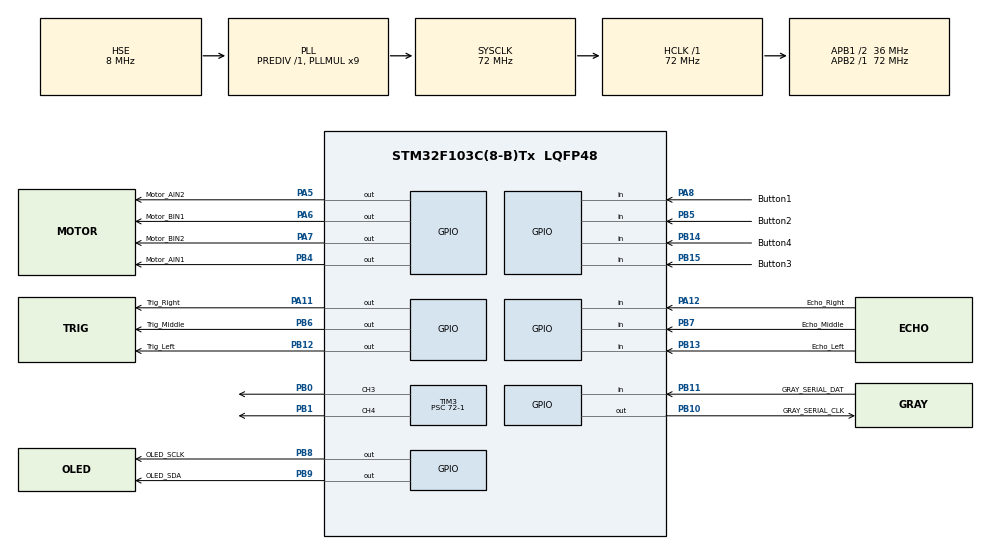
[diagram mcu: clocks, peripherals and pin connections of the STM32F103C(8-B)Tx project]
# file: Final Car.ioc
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Mcu.Family=STM32F1
Mcu.Name=STM32F103C(8-B)Tx
Mcu.Package=LQFP48
NVIC.PriorityGroup=NVIC_PRIORITYGROUP_4
NVIC.TIM2_IRQn=true\:0\:0\:false\:false\:true\:true\:true\:true
PA11.GPIO_Label=Trig_Right
PA11.GPIO_Speed=GPIO_SPEED_FREQ_HIGH
PA11.Signal=GPIO_Output
PA12.GPIO_Label=Echo_Right
PA12.Signal=GPIO_Input
PA13.Mode=Serial_Wire
PA13.Signal=SYS_JTMS-SWDIO
PA14.Mode=Serial_Wire
PA14.Signal=SYS_JTCK-SWCLK
PA5.GPIO_Label=Motor_AIN2
PA5.Signal=GPIO_Output
PA6.GPIO_Label=Motor_BIN1
PA6.Signal=GPIO_Output
PA7.GPIO_Label=Motor_BIN2
PA7.Signal=GPIO_Output
PA8.GPIO_Label=Button1
PA8.GPIO_Mode=GPIO_MODE_INPUT
PA8.GPIO_PuPd=GPIO_PULLUP
PA8.Signal=GPIO_Input
PB0.Signal=S_TIM3_CH3
PB1.Signal=S_TIM3_CH4
PB10.GPIO_Label=GRAY_SERIAL_CLK
PB10.GPIO_PuPd=GPIO_NOPULL
PB10.GPIO_Speed=GPIO_SPEED_FREQ_HIGH
PB10.Signal=GPIO_Output
PB11.GPIO_Label=GRAY_SERIAL_DAT
PB11.GPIO_PuPd=GPIO_PULLUP
PB11.Signal=GPIO_Input
PB12.GPIO_Label=Trig_Left
PB12.GPIO_Speed=GPIO_SPEED_FREQ_HIGH
PB12.Signal=GPIO_Output
PB13.GPIO_Label=Echo_Left
PB13.Signal=GPIO_Input
PB14.GPIO_Label=Button4
PB14.GPIO_PuPd=GPIO_PULLUP
PB14.Signal=GPIO_Input
PB15.GPIO_Label=Button3
PB15.GPIO_PuPd=GPIO_PULLUP
PB15.Signal=GPIO_Input
PB4.GPIO_Label=Motor_AIN1
PB4.Signal=GPIO_Output
PB5.GPIO_Label=Button2
PB5.GPIO_PuPd=GPIO_PULLUP
PB5.Signal=GPIO_Input
PB6.GPIO_Label=Trig_Middle
PB6.GPIO_PuPd=GPIO_NOPULL
PB6.GPIO_Speed=GPIO_SPEED_FREQ_HIGH
PB6.Signal=GPIO_Output
PB7.GPIO_Label=Echo_Middle
PB7.Signal=GPIO_Input
PB8.GPIO_Label=OLED_SCLK
PB8.GPIO_Speed=GPIO_SPEED_FREQ_HIGH
PB8.Signal=GPIO_Output
PB9.GPIO_Label=OLED_SDA
PB9.GPIO_Speed=GPIO_SPEED_FREQ_HIGH
PB9.Signal=GPIO_Output
PD0-OSC_IN.Mode=HSE-External-Oscillator
PD0-OSC_IN.Signal=RCC_OSC_IN
PD1-OSC_OUT.Mode=HSE-External-Oscillator
PD1-OSC_OUT.Signal=RCC_OSC_OUT
ProjectManager.HeapSize=0x200
ProjectManager.StackSize=0x400
ProjectManager.TargetToolchain=MDK-ARM V5.32
RCC.AHBFreq_Value=72000000
RCC.APB1CLKDivider=RCC_HCLK_DIV2
RCC.APB1Freq_Value=36000000
RCC.APB1TimFreq_Value=72000000
RCC.APB2Freq_Value=72000000
RCC.APB2TimFreq_Value=72000000
RCC.HCLKFreq_Value=72000000
RCC.PLLMUL=RCC_PLL_MUL9
RCC.PLLSourceVirtual=RCC_PLLSOURCE_HSE
RCC.SYSCLKFreq_VALUE=72000000
RCC.SYSCLKSource=RCC_SYSCLKSOURCE_PLLCLK
RCC.USBFreq_Value=72000000
SH.S_TIM3_CH3.0=TIM3_CH3,PWM Generation3 CH3
SH.S_TIM3_CH4.0=TIM3_CH4,PWM Generation4 CH4
TIM2.AutoReloadPreload=TIM_AUTORELOAD_PRELOAD_DISABLE
TIM2.CounterMode=TIM_COUNTERMODE_UP
TIM2.Prescaler=72-1
TIM3.Channel-PWM\ Generation3\ CH3=TIM_CHANNEL_3
TIM3.Channel-PWM\ Generation4\ CH4=TIM_CHANNEL_4
TIM3.CounterMode=TIM_COUNTERMODE_UP
TIM3.Period=100-1
TIM3.Prescaler=72-1
TIM3.Pulse-PWM\ Generation3\ CH3=15
TIM3.Pulse-PWM\ Generation4\ CH4=15
VP_TIM2_VS_ClockSourceINT.Mode=Internal
VP_TIM3_VS_ClockSourceINT.Mode=Internal
board=custom

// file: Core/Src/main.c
/* USER CODE BEGIN Header */
/**
  ******************************************************************************
  * @file           : main.c
  * @brief          : Main program body
  ******************************************************************************
  * @attention
  *
  * Copyright (c) 2024 STMicroelectronics.
  * All rights reserved.
  *
  * This software is licensed under terms that can be found in the LICENSE file
  * in the root directory of this software component.
  * If no LICENSE file comes with this software, it is provided AS-IS.
  *
  ******************************************************************************
  */
/* USER CODE END Header */
#include "main.h"
#include "tim.h"
#include "gpio.h"

/* USER CODE BEGIN Includes */
#include "OLED.h"
#include "gray_sensor.h"
#include "motor.h"
#include "ultrasonic.h"
/* USER CODE END Includes */

/* USER CODE BEGIN PV */

// 灰度传感器全局变量
uint8_t sensor_data = 0;
uint8_t sensor[8] = {0};
extern int8_t error;

// 电机全局变量
int Duty_L = 0, Duty_R = 0;
int BaseSpeed = 20;
int MaxSpeed = 30;

// 超声波测距全局变量
extern float distance_m;
extern float distance_l;
extern float distance_r;

/* USER CODE END PV */

void SystemClock_Config(void);

int main(void)
{

  /* MCU Configuration--------------------------------------------------------*/

  /* Reset of all peripherals, Initializes the Flash interface and the Systick. */
  HAL_Init();

  /* Configure the system clock */
  SystemClock_Config();

  /* USER CODE BEGIN SysInit */

  OLED_Init();// OLED初始化
	HCSR04_Init();

  /* USER CODE END SysInit */

  /* Initialize all configured peripherals */
  MX_GPIO_Init();
  MX_TIM2_Init();
  MX_TIM3_Init();
  /* USER CODE BEGIN 2 */

  HAL_TIM_PWM_Start(&htim3, TIM_CHANNEL_3);// 小车左轮PWM通道
  HAL_TIM_PWM_Start(&htim3, TIM_CHANNEL_4);// 小车右轮PWM通道

  /* USER CODE END 2 */

  /* Infinite loop */
  /* USER CODE BEGIN WHILE */
  OLED_ShowString(1, 3, "Final Design");

  while (1)
  {
		if(HAL_GPIO_ReadPin(Button1_GPIO_Port, Button1_Pin) == 0)
		{// 如果按键1被按下: 进入灰度传感器巡线模式
			HAL_Delay(10);// 消抖
			if(HAL_GPIO_ReadPin(Button1_GPIO_Port, Button1_Pin) == 0)
			{
				//HAL_TIM_Base_Start_IT(&htim2);// 灰度传感器定时器2中断
				OLED_ShowString(2, 1, "Gray Sensor Mode");
				OLED_ShowString(3, 1, "NUM:");
				while(HAL_GPIO_ReadPin(Button4_GPIO_Port, Button4_Pin))
				{// 只要按键4没有被按下，就一直巡线
					sensor_data = gray_serial_read();// 读一次灰度传感器值
					extractSensorData(sensor_data, sensor); //分离变量
					GetErrorandA();
					Gray_Sensor_Ctrl_PID(); //灰度传感器巡线
					OLED_ShowNum(3, 5, sensor_data, 3);
					OLED_ShowBinNum(3, 9, sensor_data, 8);
				}
				OLED_Clear();
				OLED_ShowString(1, 3, "Final Design");
				Motor_Off();
			}
		}
		if(HAL_GPIO_ReadPin(Button2_GPIO_Port, Button2_Pin) == 0)
		{// 如果按键2被按下,超声波避障模式
			HAL_Delay(10);// 消抖
			if(HAL_GPIO_ReadPin(Button2_GPIO_Port, Button2_Pin) == 0)
			{
				OLED_Clear();
				OLED_ShowString(1, 1, "Ultrasonic Mode");
				Set_Speed(1, 20);
				Set_Speed(2, 20);
				while(HAL_GPIO_ReadPin(Button4_GPIO_Port, Button4_Pin))
				{
					//HCSR04_Read_l();
					HCSR04_Read_m();
					//HCSR04_Read_r();
					HCSR04_OLEDShowResult();
					if(distance_m < 15)
					{// 如果距离突然小于15
						Set_Speed(1, -15);
						Set_Speed(2, -15);
						HAL_Delay(600);  // 延迟2s钟
						Motor_Off();
						HCSR04_Read_l();
						HCSR04_Read_r();// 用超声波左右探探距离
						if(distance_l < distance_r)
						{// 如果左边距离更近，就往右拐
							Set_Speed(1, 20);
							Set_Speed(2, 10);
						}
						else
						{// 如果右边距离更近，就往左拐
							Set_Speed(2, 20);
							Set_Speed(1, 10);
						}
						HAL_Delay(1000);
						Set_Speed(1, 15);// 回归走直线
						Set_Speed(2, 15);
					}
				}
				OLED_Clear();
				OLED_ShowString(1, 3, "Final Design");
				Motor_Off();
			}
		}
		if(HAL_GPIO_ReadPin(Button3_GPIO_Port, Button3_Pin) == 0)
		{// 如果按键3被按下
			OLED_ShowString(3, 1, "button3 press");
		}

    /* USER CODE END WHILE */

  }
}

void SystemClock_Config(void)
{
  RCC_OscInitTypeDef RCC_OscInitStruct = {0};
  RCC_ClkInitTypeDef RCC_ClkInitStruct = {0};

  /** Initializes the RCC Oscillators according to the specified parameters
  * in the RCC_OscInitTypeDef structure.
  */
  RCC_OscInitStruct.OscillatorType = RCC_OSCILLATORTYPE_HSE;
  RCC_OscInitStruct.HSEState = RCC_HSE_ON;
  RCC_OscInitStruct.HSEPredivValue = RCC_HSE_PREDIV_DIV1;
  RCC_OscInitStruct.HSIState = RCC_HSI_ON;
  RCC_OscInitStruct.PLL.PLLState = RCC_PLL_ON;
  RCC_OscInitStruct.PLL.PLLSource = RCC_PLLSOURCE_HSE;
  RCC_OscInitStruct.PLL.PLLMUL = RCC_PLL_MUL9;
  if (HAL_RCC_OscConfig(&RCC_OscInitStruct) != HAL_OK)
  {
    Error_Handler();
  }

  /** Initializes the CPU, AHB and APB buses clocks
  */
  RCC_ClkInitStruct.ClockType = RCC_CLOCKTYPE_HCLK|RCC_CLOCKTYPE_SYSCLK
                              |RCC_CLOCKTYPE_PCLK1|RCC_CLOCKTYPE_PCLK2;
  RCC_ClkInitStruct.SYSCLKSource = RCC_SYSCLKSOURCE_PLLCLK;
  RCC_ClkInitStruct.AHBCLKDivider = RCC_SYSCLK_DIV1;
  RCC_ClkInitStruct.APB1CLKDivider = RCC_HCLK_DIV2;
  RCC_ClkInitStruct.APB2CLKDivider = RCC_HCLK_DIV1;

  if (HAL_RCC_ClockConfig(&RCC_ClkInitStruct, FLASH_LATENCY_2) != HAL_OK)
  {
    Error_Handler();
  }
}

void Error_Handler(void)
{
  __disable_irq();
  while (1)
  {
  }
}
